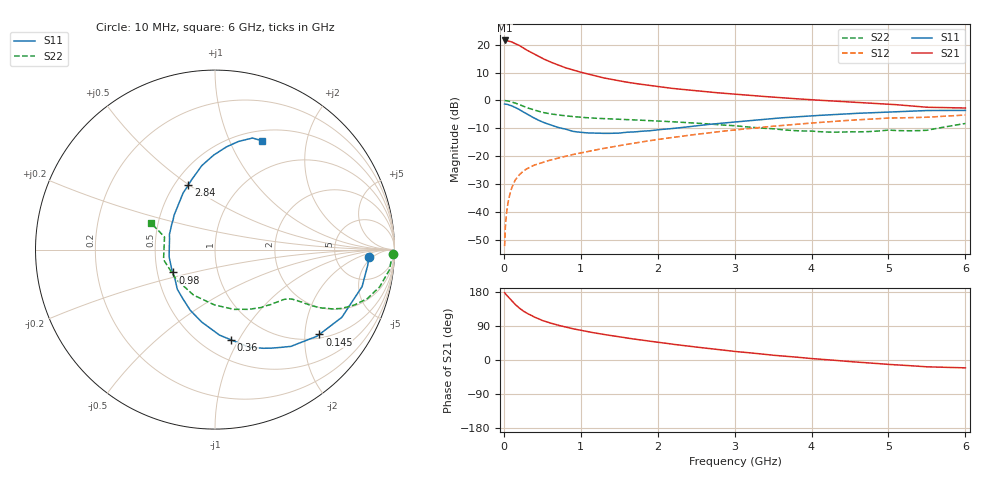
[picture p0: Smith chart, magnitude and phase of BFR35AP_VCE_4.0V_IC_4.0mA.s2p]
! Infineon Technologies  Discrete & RF Semiconductors
! BFR35AP
! VCE =  4.0 V,  IC =  4.0 mA
! Common Emitter S-Parameters:  Nov 2015
# GHz  S  MA  R  50
!  f  S11  S21  S12  S22
! GHz  MAG  ANG  MAG  ANG  MAG  ANG  MAG  ANG
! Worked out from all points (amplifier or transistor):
!   210 points, 10 MHz to 6 GHz, reference 50 ohm
!   highest |S21| = 21.5 dB at 10 MHz (marker M1)
!   |S21| within 3 dB of that: start of sweep to 271.6 MHz
!   unconditionally stable (mu >= 1): 889.1 MHz to 3.417 GHz
!   at 185 MHz: K = 0.33, MSG = 23.6 dB, |S12| = -27.3 dB
!   at 1.52 GHz: K = 1.13, MAG = 9.4 dB, |S12| = -16.2 dB
!   at 6 GHz: K = 0.95, MSG = 1.3 dB, |S12| = -5.3 dB
!   S11 on the Smith chart (normalised r, x): 10 MHz: 12, -4; 145 MHz: 1.10, -2.37; 360 MHz: 0.68, -0.93; 980 MHz: 0.60, -0.16; 2.84 GHz: 0.59, +0.49; 6 GHz: 0.62, +1.33
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0.01  0.8583 -2.9  11.91 177.6  0.0024 89.2  0.9936 -1.3
0.02  0.8554 -5.9  11.68 174.9  0.0053 81.7  0.9855 -2.6
0.04  0.8466 -11.3  11.71 170.3  0.0107 82.6  0.9804 -5.3
0.1  0.8012 -28.1  11.29 157.0  0.0261 75.0  0.9403 -12.8
0.145  0.7492 -39.1  10.48 147.2  0.0362 69.4  0.8964 -17.3
0.2  0.6852 -51.9  9.705 137.3  0.0458 64.8  0.8371 -21.6
0.24  0.6333 -60.1  8.968 131.1  0.0515 61.4  0.7934 -24.0
0.3  0.5733 -71.1  7.971 123.1  0.059 58.7  0.7381 -26.6
0.36  0.5106 -79.9  7.2 117.5  0.065 56.6  0.6943 -28.0
0.4  0.477 -87.0  6.732 113.0  0.069 55.4  0.6653 -29.1
0.5  0.4099 -100.5  5.679 104.3  0.0762 54.1  0.609 -30.4
0.6  0.3654 -112.1  4.916 97.8  0.0842 53.8  0.5729 -31.0
0.8  0.3047 -133.6  3.856 86.9  0.0987 53.9  0.5277 -32.2
0.98  0.2681 -151.7  3.261 79.2  0.1121 54.8  0.499 -33.4
1.02  0.2648 -155.6  3.151 77.6  0.115 54.9  0.494 -33.8
1.4  0.256 174.3  2.378 64.4  0.1448 55.3  0.4634 -38.0
2.02  0.2977 140.0  1.752 46.5  0.1997 53.7  0.4231 -47.7
2.84  0.3885 112.6  1.345 26.4  0.2786 47.8  0.3608 -67.1
3.1  0.4199 106.7  1.258 20.8  0.3034 45.0  0.3393 -75.4
4.1  0.5367 89.1  1.005 2.3  0.4002 33.4  0.2738 -120.4
5.1  0.624 76.4  0.836 -12.7  0.4825 19.3  0.2872 -173.8
6  0.6603 66.4  0.728 -20.7  0.5449 8.7  0.3839 157.6
